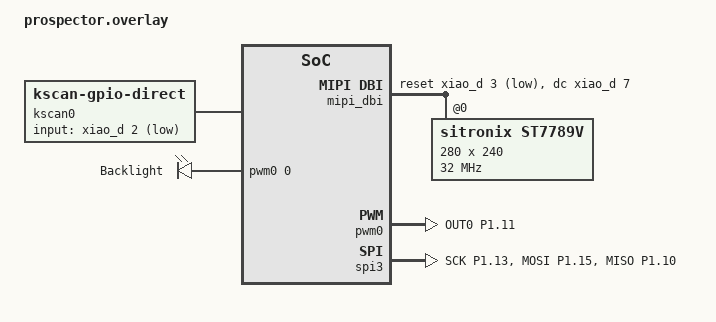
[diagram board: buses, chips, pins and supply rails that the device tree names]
/*
 * Copyright (c) 2024 carrefinho
 * Copyright (c) 2025 Prospector ZMK Module Contributors
 * Copyright (c) 2026 akira-toriyama
 *
 * SPDX-License-Identifier: MIT
 *
 * Prospector on a Seeed XIAO nRF52840: pin mapping and panel parameters from
 * prospector-zmk-module v2.2.3 boards/shields/prospector_scanner/
 * prospector_scanner.overlay, without the I2C bus (the touch controller is
 * unwired on the beekeeb pre-soldered unit and it has no ambient light sensor)
 * and without a shield-level CDC ACM node: the xiao_ble board already defines
 * board_cdc_acm_uart, and every okay zephyr,cdc-acm-uart instance becomes one
 * more USB serial port. Keep one: canon's scripts/dongle.py opens a device's
 * first port, and two ports broke canon's earlier flash script (canon #219).
 */

/ {
    chosen {
        zmk,kscan = &kscan0;
        zmk,display = &st7789v;
        zephyr,display = &st7789v;
        zephyr,console = &board_cdc_acm_uart;
    };

    /* ZMK requires a kscan; the device has no keys. D2 is unconnected. */
    kscan0: kscan {
        compatible = "zmk,kscan-gpio-direct";
        wakeup-source;
        input-gpios = <&xiao_d 2 (GPIO_ACTIVE_LOW | GPIO_PULL_UP)>;
    };

    /* Backlight on P1.11 (XIAO D6), 1 kHz PWM. */
    pwmleds {
        compatible = "pwm-leds";
        backlight: backlight {
            pwms = <&pwm0 0 PWM_USEC(1000) PWM_POLARITY_NORMAL>;
            label = "Backlight";
        };
    };

    aliases {
        led0 = &backlight;
    };
};

&spi2 {
    status = "disabled";
};

&pinctrl {
    pwm0_default: pwm0_default {
        group1 {
            psels = <NRF_PSEL(PWM_OUT0, 1, 11)>;
        };
    };

    pwm0_sleep: pwm0_sleep {
        group1 {
            psels = <NRF_PSEL(PWM_OUT0, 1, 11)>;
            low-power-enable;
        };
    };

    spi3_default: spi3_default {
        group1 {
            psels = <NRF_PSEL(SPIM_SCK, 1, 13)>,
                <NRF_PSEL(SPIM_MOSI, 1, 15)>,
                <NRF_PSEL(SPIM_MISO, 1, 10)>;
            /* nrfx wants high drive on SPIM pins at 32 MHz (nrfx_spim.c); Zephyr
             * leaves the pins to pinctrl (skip_gpio_cfg), so it is set here. */
            nordic,drive-mode = <NRF_DRIVE_H0H1>;
        };
    };

    spi3_sleep: spi3_sleep {
        group1 {
            psels = <NRF_PSEL(SPIM_SCK, 1, 13)>,
                <NRF_PSEL(SPIM_MOSI, 1, 15)>,
                <NRF_PSEL(SPIM_MISO, 1, 10)>;
            low-power-enable;
        };
    };
};

&pwm0 {
    status = "okay";
    pinctrl-0 = <&pwm0_default>;
    pinctrl-1 = <&pwm0_sleep>;
    pinctrl-names = "default", "sleep";
};

&spi3 {
    status = "okay";
    pinctrl-0 = <&spi3_default>;
    pinctrl-1 = <&spi3_sleep>;
    pinctrl-names = "default", "sleep";
    cs-gpios = <&xiao_d 9 GPIO_ACTIVE_LOW>;
};

/ {
    mipi_dbi {
        compatible = "zephyr,mipi-dbi-spi";
        spi-dev = <&spi3>;
        dc-gpios = <&xiao_d 7 GPIO_ACTIVE_HIGH>;
        reset-gpios = <&xiao_d 3 GPIO_ACTIVE_LOW>;
        write-only;
        #address-cells = <1>;
        #size-cells = <0>;

        st7789v: st7789v@0 {
            compatible = "sitronix,st7789v";
            reg = <0>;
            mipi-max-frequency = <32000000>;
            mipi-mode = "MIPI_DBI_MODE_SPI_4WIRE";
            width = <280>;
            height = <240>;
            x-offset = <20>;
            y-offset = <0>;
            vcom = <0x19>;
            gctrl = <0x35>;
            vrhs = <0x12>;
            vdvs = <0x20>;
            mdac = <0x60>;
            gamma = <0x01>;
            colmod = <0x05>;
            lcm = <0x2c>;
            porch-param = [0c 0c 00 33 33];
            cmd2en-param = [5a 69 02 01];
            pwctrl1-param = [a4 a1];
            pvgam-param = [D0 04 0D 11 13 2B 3F 54 4C 18 0D 0B 1F 23];
            nvgam-param = [D0 04 0C 11 13 2C 3F 44 51 2F 1F 1F 20 23];
            ram-param = [00 F0];
            rgb-param = [CD 08 14];
        };
    };
};
